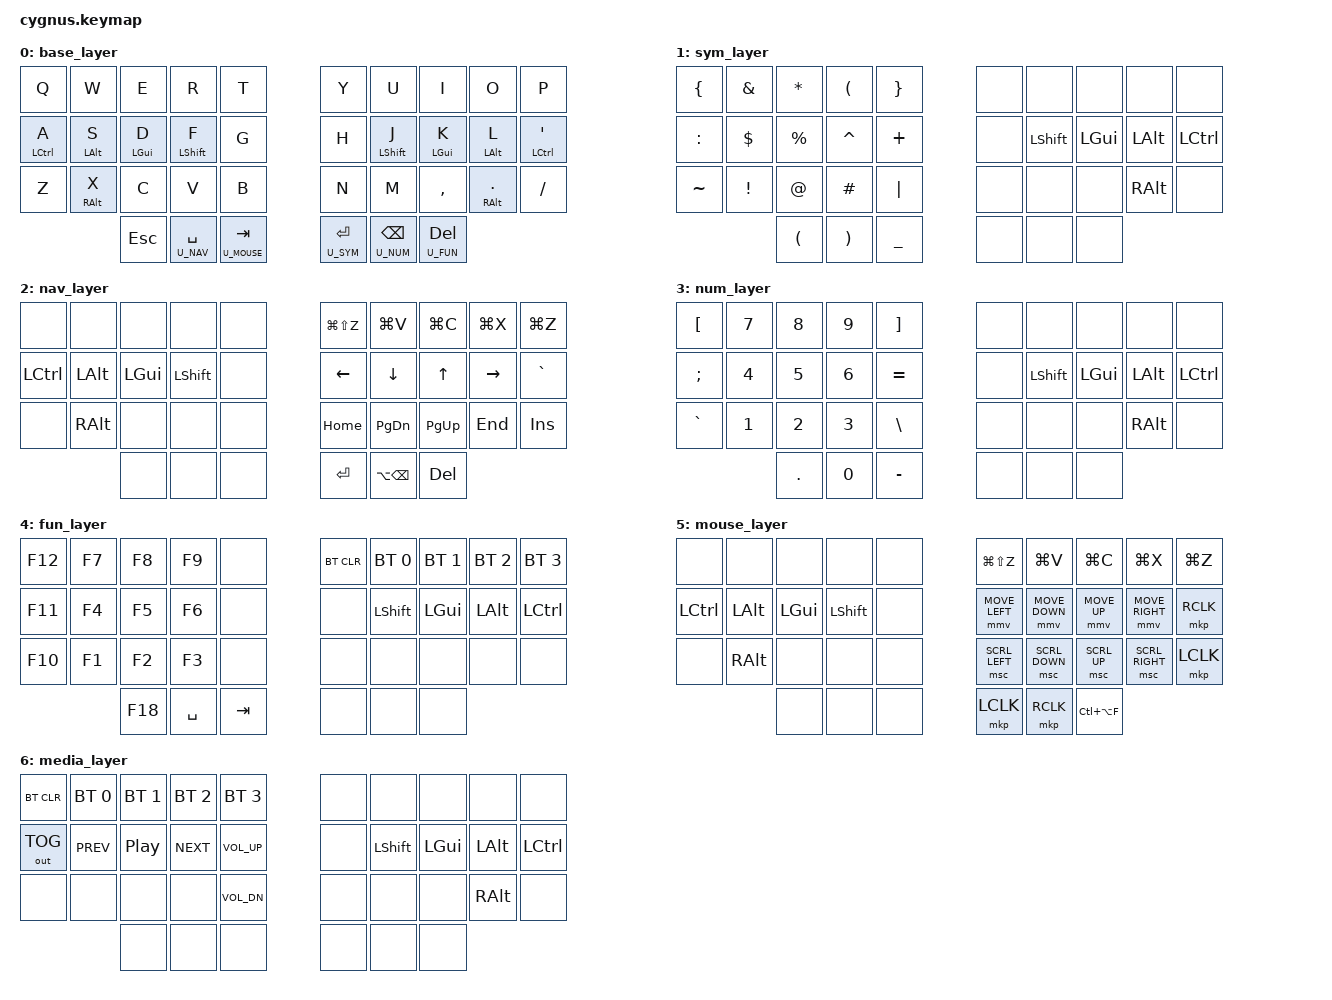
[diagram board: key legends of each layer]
/*
 * Copyright (c) 2020 The ZMK Contributors
 *
 * SPDX-License-Identifier: MIT
 */

#include <behaviors.dtsi>
#include <dt-bindings/zmk/keys.h>
#include <dt-bindings/zmk/bt.h>
#include <dt-bindings/zmk/outputs.h>

// Mouse speed settings (3x speed)
#define ZMK_POINTING_DEFAULT_MOVE_VAL 1800  // default: 600
#define ZMK_POINTING_DEFAULT_SCRL_VAL 30    // default: 10

#include <dt-bindings/zmk/pointing.h>

// QMK 스타일 레이어 정의
#define U_BASE 0
#define U_SYM 1
#define U_NAV 2
#define U_NUM 3
#define U_FUN 4
#define U_MOUSE 5
#define U_MEDIA 6

// 빈 키 정의
#define U_NA &none

// 36-key layout key positions (based on your matrix transform)
#define LT0  0
#define LT1  1
#define LT2  2
#define LT3  3
#define LT4  4
#define LM0  5
#define LM1  6
#define LM2  7
#define LM3  8
#define LM4  9
#define LB0 10
#define LB1 11
#define LB2 12
#define LB3 13
#define LB4 14
#define LH0 15
#define LH1 16
#define LH2 17

#define RT0 18
#define RT1 19
#define RT2 20
#define RT3 21
#define RT4 22
#define RM0 23
#define RM1 24
#define RM2 25
#define RM3 26
#define RM4 27
#define RB0 28
#define RB1 29
#define RB2 30
#define RB3 31
#define RB4 32
#define RH0 33
#define RH1 34
#define RH2 35

// Key groups for HRM
#define KEYS_L LT0 LT1 LT2 LT3 LT4 LM0 LM1 LM2 LM3 LM4 LB0 LB1 LB2 LB3 LB4
#define KEYS_R RT0 RT1 RT2 RT3 RT4 RM0 RM1 RM2 RM3 RM4 RB0 RB1 RB2 RB3 RB4
#define THUMBS LH0 LH1 LH2 RH0 RH1 RH2

/ {
    behaviors {
        /* Left-hand HRMs */
        hml: homerow_mods_left {
            compatible = "zmk,behavior-hold-tap";
            #binding-cells = <2>;
            flavor = "balanced";
            tapping-term-ms = <200>;
            quick-tap-ms = <175>;
            require-prior-idle-ms = <150>;
            bindings = <&kp>, <&kp>;
            hold-trigger-key-positions = <KEYS_R THUMBS>;
            hold-trigger-on-release;
        };

        /* Right-hand HRMs */
        hmr: homerow_mods_right {
            compatible = "zmk,behavior-hold-tap";
            #binding-cells = <2>;
            flavor = "balanced";
            tapping-term-ms = <200>;
            quick-tap-ms = <175>;
            require-prior-idle-ms = <150>;
            bindings = <&kp>, <&kp>;
            hold-trigger-key-positions = <KEYS_L THUMBS>;
            hold-trigger-on-release;
        };

        /* Shift 전용 HRM — require-prior-idle 없음: 롤링 즉시 Shift 발동 */
        hml_shift: homerow_mods_left_shift {
            compatible = "zmk,behavior-hold-tap";
            #binding-cells = <2>;
            flavor = "balanced";
            tapping-term-ms = <200>;
            quick-tap-ms = <175>;
            bindings = <&kp>, <&kp>;
            hold-trigger-key-positions = <KEYS_R THUMBS>;
            hold-trigger-on-release;
        };

        hmr_shift: homerow_mods_right_shift {
            compatible = "zmk,behavior-hold-tap";
            #binding-cells = <2>;
            flavor = "balanced";
            tapping-term-ms = <200>;
            quick-tap-ms = <175>;
            bindings = <&kp>, <&kp>;
            hold-trigger-key-positions = <KEYS_L THUMBS>;
            hold-trigger-on-release;
        };

        /* DEL 전용 layer-tap — require-prior-idle 없음, 120ms 홀드로 FUN 레이어 */
        lt_del: layer_tap_del {
            compatible = "zmk,behavior-hold-tap";
            #binding-cells = <2>;
            flavor = "balanced";
            tapping-term-ms = <120>;
            quick-tap-ms = <175>;
            bindings = <&mo>, <&kp>;
        };

    };

    // 콤보 정의 (QMK의 THUMBCOMBOS 기능)
    combos {
        compatible = "zmk,combos";

        // 양쪽 엄지 콤보들
        combo_caps {
            timeout-ms = <50>;
            key-positions = <32 33>; // 필요시 위치 조정
            bindings = <&caps_word>;
        };
    };

    keymap {
        compatible = "zmk,keymap";

        // BASE 레이어 (QMK MIRYOKU_LAYER_BASE)
        base_layer {
            bindings = <
                &kp Q              &kp W              &kp E              &kp R              &kp T              &kp Y              &kp U              &kp I              &kp O              &kp P
                &hml LCTRL A       &hml LALT S        &hml LGUI D        &hml_shift LSHFT F &kp G              &kp H              &hmr_shift LSHFT J &hmr LGUI K        &hmr LALT L        &hmr LCTRL SQT
                &kp Z              &hml RALT X        &kp C              &kp V              &kp B              &kp N              &kp M              &kp COMMA          &hmr RALT DOT      &kp FSLH
                                                      &kp ESC            &lt U_NAV SPACE    &lt U_MOUSE TAB    &lt U_SYM RET      &lt U_NUM BSPC     &lt_del U_FUN DEL
            >;
        };

        // SYM 레이어 (QMK MIRYOKU_LAYER_SYM)
        sym_layer {
            bindings = <
                &kp LBRC           &kp AMPS           &kp ASTRK          &kp LPAR           &kp RBRC           U_NA               U_NA               U_NA               U_NA               U_NA
                &kp COLON          &kp DLLR           &kp PRCNT          &kp CARET          &kp PLUS           U_NA               &kp LSHFT          &kp LGUI           &kp LALT           &kp LCTRL
                &kp TILDE          &kp EXCL           &kp AT             &kp HASH           &kp PIPE           U_NA               U_NA               U_NA               &kp RALT           U_NA
                                                      &kp LPAR           &kp RPAR           &kp UNDER          U_NA               U_NA               U_NA
            >;
        };

        // NAV 레이어 (QMK MIRYOKU_LAYER_NAV)
        nav_layer {
            bindings = <
                U_NA               U_NA               U_NA               U_NA               U_NA               &kp LG(LS(Z))     &kp LG(V)          &kp LG(C)          &kp LG(X)          &kp LG(Z)
                &kp LCTRL          &kp LALT           &kp LGUI           &kp LSHFT          U_NA               &kp LEFT           &kp DOWN           &kp UP             &kp RIGHT          &kp GRAVE
                U_NA               &kp RALT           U_NA               U_NA               U_NA               &kp HOME           &kp PG_DN          &kp PG_UP          &kp END            &kp INS
                                                      U_NA               U_NA               U_NA               &kp RET            &kp LA(BSPC)       &kp DEL
            >;
        };

        // NUM 레이어 (QMK MIRYOKU_LAYER_NUM)
        num_layer {
            bindings = <
                &kp LBKT           &kp N7             &kp N8             &kp N9             &kp RBKT           U_NA               U_NA               U_NA               U_NA               U_NA
                &kp SEMI           &kp N4             &kp N5             &kp N6             &kp EQUAL          U_NA               &kp LSHFT          &kp LGUI           &kp LALT           &kp LCTRL
                &kp GRAVE          &kp N1             &kp N2             &kp N3             &kp BSLH           U_NA               U_NA               U_NA               &kp RALT           U_NA
                                                      &kp DOT            &kp N0             &kp MINUS          U_NA               U_NA               U_NA
            >;
        };

        // FUN 레이어 (QMK MIRYOKU_LAYER_FUN)
        fun_layer {
            bindings = <
                &kp F12            &kp F7             &kp F8             &kp F9             U_NA               &bt BT_CLR         &bt BT_SEL 0       &bt BT_SEL 1       &bt BT_SEL 2       &bt BT_SEL 3
                &kp F11            &kp F4             &kp F5             &kp F6             U_NA               U_NA               &kp LSHFT          &kp LGUI           &kp LALT           &kp LCTRL
                &kp F10            &kp F1             &kp F2             &kp F3             U_NA               U_NA               U_NA               U_NA               U_NA               U_NA
                                                      &kp F18            &kp SPACE          &kp TAB            U_NA               U_NA               U_NA
            >;
        };

        // MOUSE 레이어
        mouse_layer {
            bindings = <
                U_NA               U_NA               U_NA               U_NA               U_NA               &kp LG(LS(Z))     &kp LG(V)          &kp LG(C)          &kp LG(X)          &kp LG(Z)
                &kp LCTRL          &kp LALT           &kp LGUI           &kp LSHFT          U_NA               &mmv MOVE_LEFT     &mmv MOVE_DOWN     &mmv MOVE_UP       &mmv MOVE_RIGHT    &mkp RCLK
                U_NA               &kp RALT           U_NA               U_NA               U_NA               &msc SCRL_LEFT     &msc SCRL_DOWN     &msc SCRL_UP       &msc SCRL_RIGHT    &mkp LCLK
                                                      U_NA               U_NA               U_NA               &mkp LCLK          &mkp RCLK          &kp LC(LA(F))
            >;
        };

        // MEDIA 레이어
        media_layer {
            bindings = <
                &bt BT_CLR         &bt BT_SEL 0       &bt BT_SEL 1       &bt BT_SEL 2       &bt BT_SEL 3       U_NA               U_NA               U_NA               U_NA               U_NA
                &out OUT_TOG       &kp C_PREV         &kp C_PP           &kp C_NEXT         &kp C_VOL_UP       U_NA               &kp LSHFT          &kp LGUI           &kp LALT           &kp LCTRL
                U_NA               U_NA               U_NA               U_NA               &kp C_VOL_DN       U_NA               U_NA               U_NA               &kp RALT           U_NA
                                                      U_NA               U_NA               U_NA               U_NA               U_NA               U_NA
            >;
        };
    };
};
